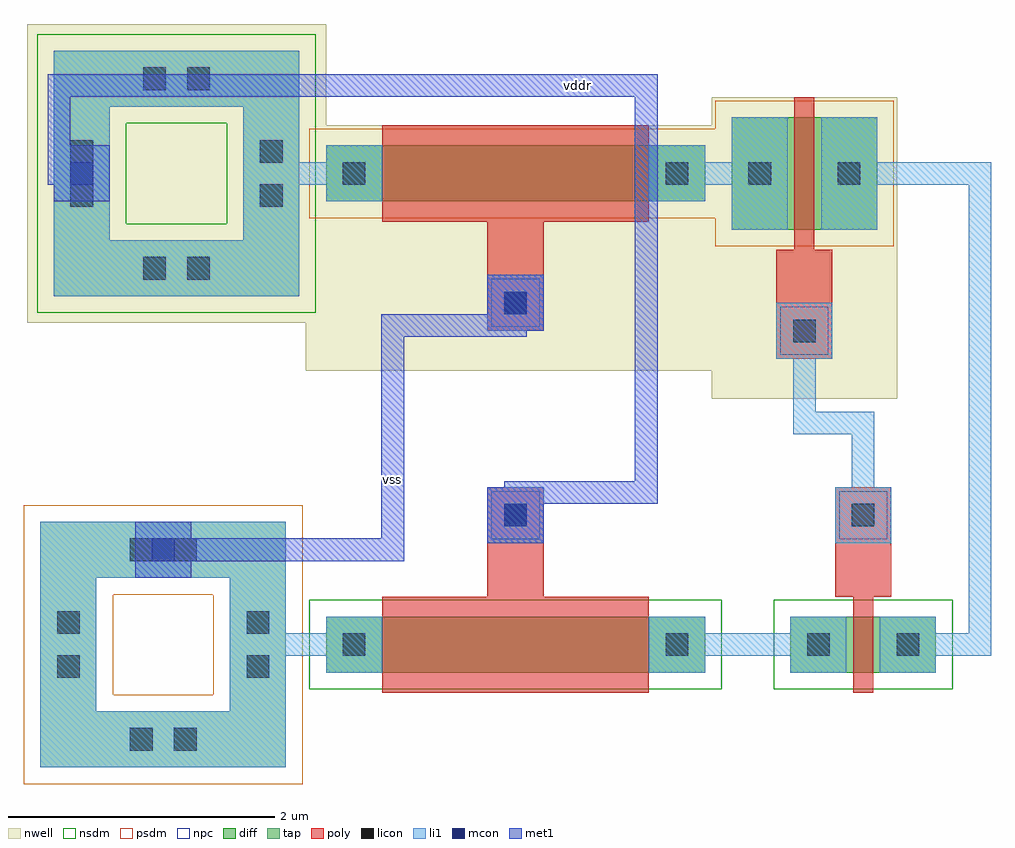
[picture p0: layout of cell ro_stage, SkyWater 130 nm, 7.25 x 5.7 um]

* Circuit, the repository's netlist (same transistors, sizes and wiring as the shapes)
* extracted by klt extract --deck sky130

* cell ro_stage
* pin a
* pin mnt_g,vddr
* pin mph_g,vss
* pin ny
* pin py
* pin y
.SUBCKT ro_stage a mnt_g|vddr mph_g|vss ny py y
* device instance $1 r0 *1 1.42,0.21 nfet
M$1 ny mnt_g|vddr mph_g|vss mph_g|vss nfet L=2U W=0.42U AS=0.1764P AD=0.1764P
+ PS=1.68U PD=1.68U
* device instance $2 r0 *1 4.025,0.21 nfet
M$2 y a ny mph_g|vss nfet L=0.15U W=0.42U AS=0.1974P AD=0.1974P PS=1.78U
+ PD=1.78U
* device instance $3 r0 *1 1.42,3.74 pfet
M$3 py mph_g|vss mnt_g|vddr mnt_g|vddr pfet L=2U W=0.42U AS=0.1764P AD=0.1764P
+ PS=1.68U PD=1.68U
* device instance $4 r0 *1 3.585,3.74 pfet
M$4 y a py mnt_g|vddr pfet L=0.15U W=0.84U AS=0.3948P AD=0.3948P PS=2.62U
+ PD=2.62U
.ENDS ro_stage

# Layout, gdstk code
import gdstk
lib = gdstk.Library(unit=1e-6, precision=1e-09)
def R(c, l, rs):  # rectangles x0, y0, x1, y1
    for r in rs: c.add(gdstk.rectangle(r[:2], r[2:], *l))
def P(c, l, *ps):  # polygons
    for p in ps: c.add(gdstk.Polygon(p, *l))
nwell = (64, 20)
diff = (65, 20)
tap = (65, 44)
poly = (66, 20)
licon = (66, 44)
li1 = (67, 20)
mcon = (67, 44)
met1 = (68, 20)
nsdm = (93, 44)
psdm = (94, 20)
npc = (95, 20)

mos_array_3 = lib.new_cell('mos_array$3')
R(mos_array_3, nwell, [(-0.15,-0.15,1.24,2.11)])
R(mos_array_3, diff, [(0,0,1.09,0.84)])
R(mos_array_3, poly, [(0.47,-0.15,0.62,0.84), (0.47,0.84,0.62,0.99), (0.47,0.84,0.62,0.99), (0.335,0.99,0.755,1.81)])
R(mos_array_3, licon, [(0.125,0.335,0.295,0.505), (0.795,0.335,0.965,0.505), (0.46,1.515,0.63,1.685)])
R(mos_array_3, li1, [(0,0,0.42,0.84), (0.67,0,1.09,0.84), (0.335,1.39,0.755,1.81)])
R(mos_array_3, psdm, [(-0.125,-0.125,1.215,0.965)])
R(mos_array_3, npc, [(0.365,1.42,0.725,1.78)])

mp__mp = lib.new_cell('mp__mp')
mp__mp.add(gdstk.Reference(mos_array_3, (0,0)))

guard_ring_1 = lib.new_cell('guard_ring$1')
R(guard_ring_1, nwell, [(-0.2,-0.2,2.04,2.04)])
P(guard_ring_1, tap, [(0,0),(0,1.42),(0.42,1.42),(0.42,0.42),(1.42,0.42),(1.42,1.42),(0,1.42),(0,1.84),(1.84,1.84),(1.84,0)])
R(guard_ring_1, licon, [(0.67,0.125,0.84,0.295), (1,0.125,1.17,0.295), (0.125,0.67,0.295,0.84), (1.545,0.67,1.715,0.84), (0.125,1,0.295,1.17), (1.545,1,1.715,1.17), (0.67,1.545,0.84,1.715), (1,1.545,1.17,1.715)])
P(guard_ring_1, li1, [(0,0),(0,1.42),(0.42,1.42),(0.42,0.42),(1.42,0.42),(1.42,1.42),(0,1.42),(0,1.84),(1.84,1.84),(1.84,0)])
P(guard_ring_1, nsdm, [(-0.125,-0.125),(-0.125,1.295),(0.545,1.295),(0.545,0.545),(1.295,0.545),(1.295,1.295),(-0.125,1.295),(-0.125,1.965),(1.965,1.965),(1.965,-0.125)])

nwell_tap__nwell_tap = lib.new_cell('nwell_tap__nwell_tap')
nwell_tap__nwell_tap.add(gdstk.Reference(guard_ring_1, (0,0)))

mos_array_2 = lib.new_cell('mos_array$2')
R(mos_array_2, nwell, [(-0.15,-0.15,2.99,1.69)])
R(mos_array_2, diff, [(0,0,2.84,0.42)])
R(mos_array_2, poly, [(0.42,-0.15,2.42,0.42), (0.42,0.42,2.42,0.57), (0.42,0.42,2.42,0.57), (1.21,0.57,1.63,1.39)])
R(mos_array_2, licon, [(0.125,0.125,0.295,0.295), (2.545,0.125,2.715,0.295), (1.335,1.095,1.505,1.265)])
R(mos_array_2, li1, [(0,0,0.42,0.42), (2.42,0,2.84,0.42), (1.21,0.97,1.63,1.39)])
R(mos_array_2, psdm, [(-0.125,-0.125,2.965,0.545)])
R(mos_array_2, npc, [(1.24,1,1.6,1.36)])

mph__mph = lib.new_cell('mph__mph')
mph__mph.add(gdstk.Reference(mos_array_2, (0,0)))

mos_array_1 = lib.new_cell('mos_array$1')
R(mos_array_1, diff, [(0,0,1.09,0.42)])
R(mos_array_1, poly, [(0.47,-0.15,0.62,0.42), (0.47,0.42,0.62,0.57), (0.47,0.42,0.62,0.57), (0.335,0.57,0.755,1.39)])
R(mos_array_1, licon, [(0.125,0.125,0.295,0.295), (0.795,0.125,0.965,0.295), (0.46,1.095,0.63,1.265)])
R(mos_array_1, li1, [(0,0,0.42,0.42), (0.67,0,1.09,0.42), (0.335,0.97,0.755,1.39)])
R(mos_array_1, nsdm, [(-0.125,-0.125,1.215,0.545)])
R(mos_array_1, npc, [(0.365,1,0.725,1.36)])

mn__mn = lib.new_cell('mn__mn')
mn__mn.add(gdstk.Reference(mos_array_1, (0,0)))

guard_ring = lib.new_cell('guard_ring')
P(guard_ring, tap, [(0,0),(0,1.42),(0.42,1.42),(0.42,0.42),(1.42,0.42),(1.42,1.42),(0,1.42),(0,1.84),(1.84,1.84),(1.84,0)])
R(guard_ring, licon, [(0.67,0.125,0.84,0.295), (1,0.125,1.17,0.295), (0.125,0.67,0.295,0.84), (1.545,0.67,1.715,0.84), (0.125,1,0.295,1.17), (1.545,1,1.715,1.17), (0.67,1.545,0.84,1.715), (1,1.545,1.17,1.715)])
P(guard_ring, li1, [(0,0),(0,1.42),(0.42,1.42),(0.42,0.42),(1.42,0.42),(1.42,1.42),(0,1.42),(0,1.84),(1.84,1.84),(1.84,0)])
P(guard_ring, psdm, [(-0.125,-0.125),(-0.125,1.295),(0.545,1.295),(0.545,0.545),(1.295,0.545),(1.295,1.295),(-0.125,1.295),(-0.125,1.965),(1.965,1.965),(1.965,-0.125)])

psub_tap__psub_tap = lib.new_cell('psub_tap__psub_tap')
psub_tap__psub_tap.add(gdstk.Reference(guard_ring, (0,0)))

mos_array = lib.new_cell('mos_array')
R(mos_array, diff, [(0,0,2.84,0.42)])
R(mos_array, poly, [(0.42,-0.15,2.42,0.42), (0.42,0.42,2.42,0.57), (0.42,0.42,2.42,0.57), (1.21,0.57,1.63,1.39)])
R(mos_array, licon, [(0.125,0.125,0.295,0.295), (2.545,0.125,2.715,0.295), (1.335,1.095,1.505,1.265)])
R(mos_array, li1, [(0,0,0.42,0.42), (2.42,0,2.84,0.42), (1.21,0.97,1.63,1.39)])
R(mos_array, nsdm, [(-0.125,-0.125,2.965,0.545)])
R(mos_array, npc, [(1.24,1,1.6,1.36)])

mnt__mnt = lib.new_cell('mnt__mnt')
mnt__mnt.add(gdstk.Reference(mos_array, (0,0)))

core__core = lib.new_cell('core__core')
R(core__core, li1, [(3.815,1.18,4.235,1.35), (3.375,2.39,3.795,2.56)])
core__core.add(gdstk.FlexPath([(3.585,2.56),(3.585,1.87),(4.025,1.87),(4.025,1.18)], 0.17, ends="flush", simple_path=True, layer=67, datatype=20))  # li1
core__core.add(gdstk.FlexPath([(3.92,3.74),(4.9,3.74),(4.9,0.21),(4.36,0.21)], 0.17, ends="flush", simple_path=True, layer=67, datatype=20))  # li1
core__core.add(gdstk.FlexPath([(2.63,3.74),(3.25,3.74)], 0.17, ends="flush", simple_path=True, layer=67, datatype=20))  # li1
core__core.add(gdstk.FlexPath([(2.63,0.21),(3.69,0.21)], 0.17, ends="flush", simple_path=True, layer=67, datatype=20))  # li1
core__core.add(gdstk.FlexPath([(0.21,3.74),(-0.41,3.74)], 0.17, ends="flush", simple_path=True, layer=67, datatype=20))  # li1
core__core.add(gdstk.FlexPath([(0.21,0.21),(-0.51,0.21)], 0.17, ends="flush", simple_path=True, layer=67, datatype=20))  # li1
core__core.add(gdstk.Reference(mp__mp, (3.04,4.16), x_reflection=True))
core__core.add(gdstk.Reference(nwell_tap__nwell_tap, (-2.04,2.82)))
core__core.add(gdstk.Reference(mph__mph, (0,3.95), x_reflection=True))
core__core.add(gdstk.Reference(mn__mn, (3.48,0)))
core__core.add(gdstk.Reference(psub_tap__psub_tap, (-2.14,-0.71)))
core__core.add(gdstk.Reference(mnt__mnt, (0,0)))
core__core.add(gdstk.Label('a', (3.805,1.87), layer=67, texttype=5))
core__core.add(gdstk.Label('y', (4.9,2.195), layer=67, texttype=5))
core__core.add(gdstk.Label('py', (2.94,3.74), layer=67, texttype=5))
core__core.add(gdstk.Label('ny', (3.16,0.21), layer=67, texttype=5))
core__core.add(gdstk.Label('vddr', (-0.1,3.74), layer=67, texttype=5))
core__core.add(gdstk.Label('vss', (-0.15,0.21), layer=67, texttype=5))
core__core.add(gdstk.Label('vddr', (-1.83,3.74), layer=67, texttype=5))
core__core.add(gdstk.Label('vss', (-1.22,0.92), layer=67, texttype=5))
core__core.add(gdstk.Label('mph_g', (1.42,2.77), layer=67, texttype=5))
core__core.add(gdstk.Label('mnt_g', (1.42,1.18), layer=67, texttype=5))

ro_stage = lib.new_cell('ro_stage')
R(ro_stage, li1, [(-1.43,0.71,-1.01,1.13), (1.21,0.97,1.63,1.39), (1.21,2.56,1.63,2.98), (-2.04,3.53,-1.62,3.95)])
R(ro_stage, mcon, [(-1.305,0.835,-1.135,1.005), (1.335,1.095,1.505,1.265), (1.335,2.685,1.505,2.855), (-1.915,3.655,-1.745,3.825)])
R(ro_stage, met1, [(-1.43,0.71,-1.01,1.13), (1.21,0.97,1.63,1.39), (1.21,2.56,1.63,2.98), (-2.04,3.53,-1.62,3.95)])
ro_stage.add(gdstk.FlexPath([(1.42,2.77),(1.42,2.6),(0.5,2.6),(0.5,0.92),(-1.22,0.92),(-1.22,0.92)], 0.17, ends="flush", simple_path=True, layer=68, datatype=20))  # met1
ro_stage.add(gdstk.FlexPath([(1.42,1.18),(1.42,1.35),(2.4,1.35),(2.4,4.4),(-2,4.4),(-2,3.74),(-1.83,3.74)], 0.17, ends="flush", simple_path=True, layer=68, datatype=20))  # met1
ro_stage.add(gdstk.Reference(core__core, (0,0)))
ro_stage.add(gdstk.Label('vss', (0.5,1.445), layer=68, texttype=5))
ro_stage.add(gdstk.Label('vddr', (1.885,4.4), layer=68, texttype=5))

lib.write_gds('ro_stage.gds')
